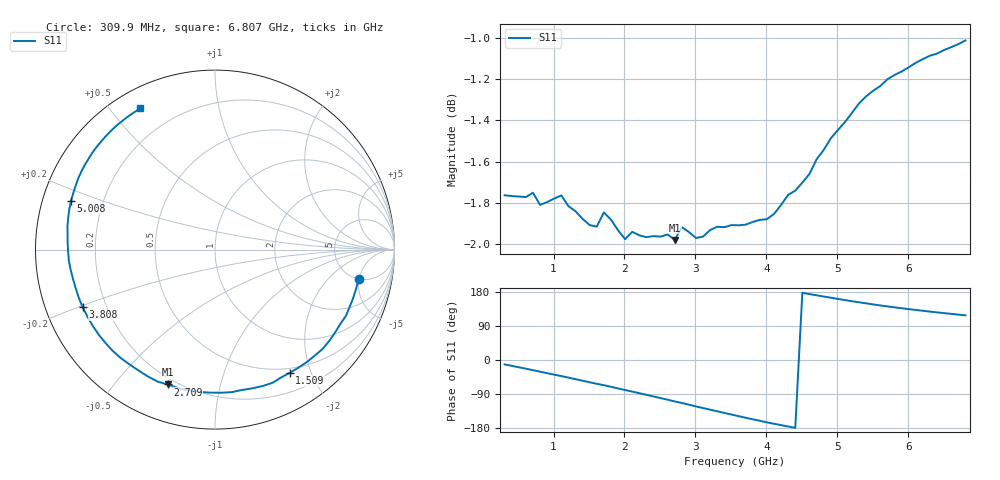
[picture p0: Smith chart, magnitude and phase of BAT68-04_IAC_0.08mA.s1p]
! Infineon Technologies  Discrete & RF Semiconductors
! BAT68-04
! IAC = 0.08 mA
! One-Port S-Parameters
# Hz  S  MA  R  50
!f  S11
!Hz  Mag  Ang
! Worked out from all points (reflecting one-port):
!   66 points, 309.9 MHz to 6.807 GHz, reference 50 ohm
!   lowest |S11| = -2.0 dB at 2.709 GHz (marker M1), VSWR 8.81, Z = 8.48 - j34.8 ohm
!   phase of S11 starts at -12 deg and turns -230 deg over the sweep
!   S11 on the Smith chart (normalised r, x): 309.9 MHz: 4.97, -4.89; 1.509 GHz: 0.44, -1.69; 2.709 GHz: 0.17, -0.70; 3.808 GHz: 0.11, -0.21; 5.008 GHz: 0.09, +0.16; 6.807 GHz: 0.08, +0.60
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3.0985e8  0.8163 -11.6
5.0975e8  0.8157 -19.1
7.0965e8  0.8174 -26.8
1.0095e9  0.8147 -38.6
1.2094e9  0.8113 -46.5
1.50925e9  0.8027 -58.8
1.70915e9  0.8084 -66.5
1.8091e9  0.8052 -70.7
2.009e9  0.7964 -79.3
2.2089e9  0.7981 -87.6
2.4088e9  0.7978 -96.2
2.6087e9  0.7985 -104.8
2.70865e9  0.7961 -109.3
2.8086e9  0.8018 -113.4
3.0085e9  0.7969 -122.5
3.2084e9  0.8005 -131.1
3.4083e9  0.8018 -139.7
3.6082e9  0.8026 -148.2
3.8081e9  0.8041 -156.5
4.10795e9  0.8077 -168.3
4.4078e9  0.8183 -179.1
4.70765e9  0.8328 170.8
5.0075e9  0.8465 161.2
5.2074e9  0.8548 155.1
5.6072e9  0.8677 144.0
6.007e9  0.8768 134.3
6.30685e9  0.8825 127.8
6.8066e9  0.8901 117.9
